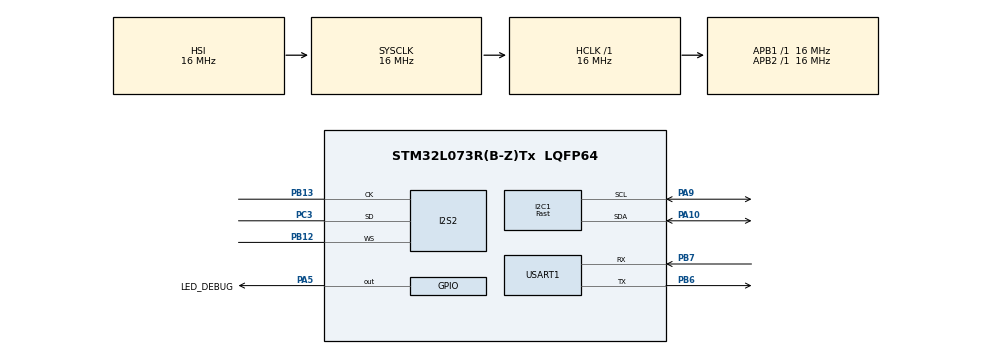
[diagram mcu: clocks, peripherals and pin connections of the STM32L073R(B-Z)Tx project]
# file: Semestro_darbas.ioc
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Dma.Request0=SPI2_RX
Dma.SPI2_RX.0.Direction=DMA_PERIPH_TO_MEMORY
Dma.SPI2_RX.0.Instance=DMA1_Channel4
Dma.SPI2_RX.0.MemDataAlignment=DMA_MDATAALIGN_HALFWORD
Dma.SPI2_RX.0.MemInc=DMA_MINC_ENABLE
Dma.SPI2_RX.0.Mode=DMA_NORMAL
Dma.SPI2_RX.0.PeriphDataAlignment=DMA_PDATAALIGN_HALFWORD
Dma.SPI2_RX.0.PeriphInc=DMA_PINC_DISABLE
Dma.SPI2_RX.0.Priority=DMA_PRIORITY_HIGH
I2C1.I2C_Speed_Mode=I2C_Fast
I2C1.Timing=0x00300617
I2S2.AudioFreq=I2S_AUDIOFREQ_8K
I2S2.DataFormat=I2S_DATAFORMAT_16B
I2S2.ErrorAudioFreq=-0.8 %
I2S2.Instance=SPI$Index
I2S2.Mode=I2S_MODE_MASTER_RX
I2S2.RealAudioFreq=7.936 KHz
I2S2.VirtualMode=I2S_MODE_MASTER
Mcu.Family=STM32L0
Mcu.Name=STM32L073R(B-Z)Tx
Mcu.Package=LQFP64
NVIC.DMA1_Channel4_5_6_7_IRQn=true\:0\:0\:false\:false\:true\:false\:true\:true
NVIC.TIM6_DAC_IRQn=true\:0\:0\:false\:false\:true\:true\:true\:true
PA10.GPIO_Pu=GPIO_PULLUP
PA10.Mode=I2C
PA10.Signal=I2C1_SDA
PA13.Mode=Serial_Wire
PA13.Signal=SYS_SWDIO
PA14.Mode=Serial_Wire
PA14.Signal=SYS_SWCLK
PA5.GPIO_Label=LED_DEBUG
PA5.GPIO_PuPd=GPIO_NOPULL
PA5.Signal=GPIO_Output
PA9.GPIO_Pu=GPIO_PULLUP
PA9.Mode=I2C
PA9.Signal=I2C1_SCL
PB12.GPIO_PuPd=GPIO_NOPULL
PB12.GPIO_Speed=GPIO_SPEED_FREQ_HIGH
PB12.Mode=Half_Duplex_Master
PB12.Signal=I2S2_WS
PB13.GPIO_Speed=GPIO_SPEED_FREQ_HIGH
PB13.Mode=Half_Duplex_Master
PB13.Signal=I2S2_CK
PB6.Mode=Asynchronous
PB6.Signal=USART1_TX
PB7.Mode=Asynchronous
PB7.Signal=USART1_RX
PC3.GPIO_Speed=GPIO_SPEED_FREQ_HIGH
PC3.Mode=Half_Duplex_Master
PC3.Signal=I2S2_SD
PH0-OSC_IN.Mode=HSE-External-Oscillator
PH0-OSC_IN.Signal=RCC_OSC_IN
PH1-OSC_OUT.Mode=HSE-External-Oscillator
PH1-OSC_OUT.Signal=RCC_OSC_OUT
ProjectManager.HeapSize=0x200
ProjectManager.StackSize=0x400
ProjectManager.TargetToolchain=MDK-ARM V5.32
RCC.ADCFreq_Value=16000000
RCC.AHBFreq_Value=16000000
RCC.APB1Freq_Value=16000000
RCC.APB1TimFreq_Value=16000000
RCC.APB2Freq_Value=16000000
RCC.APB2TimFreq_Value=16000000
RCC.HCLKFreq_Value=16000000
RCC.HSE_VALUE=8000000
RCC.HSI16_VALUE=16000000
RCC.HSI48_VALUE=48000000
RCC.HSI_VALUE=16000000
RCC.LSE_VALUE=32768
RCC.MSI_VALUE=2097000
RCC.PLLMUL=RCC_PLLMUL_8
RCC.PLLSourceVirtual=RCC_PLLSOURCE_HSE
RCC.SYSCLKFreq_VALUE=16000000
RCC.SYSCLKSource=RCC_SYSCLKSOURCE_HSI
RCC.VCOOutputFreq_Value=64000000
TIM6.AutoReloadPreload=TIM_AUTORELOAD_PRELOAD_ENABLE
TIM6.Period=100
TIM6.Prescaler=40000
USART1.VirtualMode-Asynchronous=VM_ASYNC
VP_TIM6_VS_ClockSourceINT.Mode=Enable_Timer
board=custom

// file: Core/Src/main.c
/* USER CODE BEGIN Header */
/**
  ******************************************************************************
  * @file           : main.c
  * @brief          : Main program body
  ******************************************************************************
  * @attention
  *
  * Copyright (c) 2025 STMicroelectronics.
  * All rights reserved.
  *
  * This software is licensed under terms that can be found in the LICENSE file
  * in the root directory of this software component.
  * If no LICENSE file comes with this software, it is provided AS-IS.
  *
  ******************************************************************************
  */
/* USER CODE END Header */
#include "main.h"

/* USER CODE BEGIN Includes */

#include "ssd1306.h"
#include "fonts.h"
#include "bitmap.h"
#include "string.h"
#include "stdio.h"
#include "math.h"

//#include "usart.h"

#include "Statechart.h"
#include "Statechart_required.h"

/* USER CODE END Includes */

/* USER CODE BEGIN PD */

#define BUFFER_SIZE 256

/* USER CODE END PD */

I2C_HandleTypeDef hi2c1;

I2S_HandleTypeDef hi2s2;
DMA_HandleTypeDef hdma_spi2_rx;

TIM_HandleTypeDef htim6;

UART_HandleTypeDef huart1;

/* USER CODE BEGIN PV */

volatile uint16_t i2s_rx_buffer[BUFFER_SIZE];
volatile uint8_t   buffer_ready = 0;

float              rms_value   = 0.0f;

Statechart         sc_handle;

extern UART_HandleTypeDef huart1;
char dbg_msg[64];

volatile uint8_t sample_flag = 0;
volatile uint8_t dma_done = 0;

volatile uint16_t latest_sample = 0;

volatile uint16_t s;

float sum = 0;
volatile uint16_t  rms_count      = 0;

/* USER CODE END PV */

void SystemClock_Config(void);
static void MX_GPIO_Init(void);
static void MX_DMA_Init(void);
static void MX_I2C1_Init(void);
static void MX_I2S2_Init(void);
static void MX_USART1_UART_Init(void);
static void MX_TIM6_Init(void);

/* USER CODE BEGIN 0 */

void statechart_readI2SSensor( Statechart* handle){

	HAL_I2S_Receive_DMA(&hi2s2, (uint16_t*)&latest_sample, 1);
	rms_count++;

}

sc_integer statechart_saveI2SSample(Statechart *h, const sc_integer idx)
{
	int16_t s = (int16_t)latest_sample;

	sum += s * s;

	 if (rms_count >= 25.0f) {
        rms_value = sqrtf(sum / 25.0f);

        sum = 0;
        rms_count      = 0;
    }

    return 1;
}

void statechart_uartData(Statechart *h)
{
	HAL_GPIO_TogglePin(LED_DEBUG_GPIO_Port, LED_DEBUG_Pin);

	char msg[32];
snprintf(msg, sizeof(msg), "RMS: %.3f\r\n", rms_value);
HAL_UART_Transmit(&huart1, (uint8_t*)msg, strlen(msg), HAL_MAX_DELAY);

}

void statechart_displayInfo( Statechart* handle){
	char buf[32];
	 snprintf(buf, sizeof(buf), "RMS: %.2f", rms_value);

    SSD1306_Fill(SSD1306_COLOR_BLACK);
    SSD1306_GotoXY(0, 0);
    SSD1306_Puts("SOUND LEVEL", &Font_7x10, 1);
    SSD1306_GotoXY(0, 20);
    SSD1306_Puts(buf, &Font_11x18, 1);
    SSD1306_UpdateScreen();

}

void HAL_TIM_PeriodElapsedCallback(TIM_HandleTypeDef *htim)
{
  if (htim == &htim6) {
		 statechart_raise_ev_GetSample(&sc_handle);

  }
}

/* USER CODE END 0 */

int main(void)
{

  /* MCU Configuration--------------------------------------------------------*/

  /* Reset of all peripherals, Initializes the Flash interface and the Systick. */
  HAL_Init();

  /* Configure the system clock */
  SystemClock_Config();

  /* Initialize all configured peripherals */
  MX_GPIO_Init();
  MX_DMA_Init();
  MX_I2C1_Init();
  MX_I2S2_Init();
  MX_USART1_UART_Init();
  MX_TIM6_Init();
  /* USER CODE BEGIN 2 */

  SSD1306_Init (); // initialise the display

    SSD1306_Fill(SSD1306_COLOR_BLACK);
    SSD1306_GotoXY(0, 0);
    SSD1306_Puts("Starting ...", &Font_7x10, 1);
    SSD1306_UpdateScreen();

	__HAL_LINKDMA(&hi2s2, hdmarx, hdma_spi2_rx);

//if (HAL_I2S_Receive_DMA(&hi2s2, (uint16_t*)&latest_sample, 1) != HAL_OK) {
 // Error_Handler();
//}

		statechart_init(&sc_handle);
		statechart_enter(&sc_handle);
	  HAL_TIM_Base_Start_IT(&htim6);

		if(HAL_TIM_Base_Start_IT(&htim6) != HAL_OK) //run TIM6 timer
   {
   }

  /* USER CODE END 2 */

  /* Infinite loop */
  while (1)
  {

}
}

void SystemClock_Config(void)
{
  RCC_OscInitTypeDef RCC_OscInitStruct = {0};
  RCC_ClkInitTypeDef RCC_ClkInitStruct = {0};
  RCC_PeriphCLKInitTypeDef PeriphClkInit = {0};

  /** Configure the main internal regulator output voltage
  */
  __HAL_PWR_VOLTAGESCALING_CONFIG(PWR_REGULATOR_VOLTAGE_SCALE1);

  /** Initializes the RCC Oscillators according to the specified parameters
  * in the RCC_OscInitTypeDef structure.
  */
  RCC_OscInitStruct.OscillatorType = RCC_OSCILLATORTYPE_HSI;
  RCC_OscInitStruct.HSIState = RCC_HSI_ON;
  RCC_OscInitStruct.HSICalibrationValue = RCC_HSICALIBRATION_DEFAULT;
  RCC_OscInitStruct.PLL.PLLState = RCC_PLL_NONE;
  if (HAL_RCC_OscConfig(&RCC_OscInitStruct) != HAL_OK)
  {
    Error_Handler();
  }

  /** Initializes the CPU, AHB and APB buses clocks
  */
  RCC_ClkInitStruct.ClockType = RCC_CLOCKTYPE_HCLK|RCC_CLOCKTYPE_SYSCLK
                              |RCC_CLOCKTYPE_PCLK1|RCC_CLOCKTYPE_PCLK2;
  RCC_ClkInitStruct.SYSCLKSource = RCC_SYSCLKSOURCE_HSI;
  RCC_ClkInitStruct.AHBCLKDivider = RCC_SYSCLK_DIV1;
  RCC_ClkInitStruct.APB1CLKDivider = RCC_HCLK_DIV1;
  RCC_ClkInitStruct.APB2CLKDivider = RCC_HCLK_DIV1;

  if (HAL_RCC_ClockConfig(&RCC_ClkInitStruct, FLASH_LATENCY_0) != HAL_OK)
  {
    Error_Handler();
  }
  PeriphClkInit.PeriphClockSelection = RCC_PERIPHCLK_USART1|RCC_PERIPHCLK_I2C1;
  PeriphClkInit.Usart1ClockSelection = RCC_USART1CLKSOURCE_PCLK2;
  PeriphClkInit.I2c1ClockSelection = RCC_I2C1CLKSOURCE_PCLK1;
  if (HAL_RCCEx_PeriphCLKConfig(&PeriphClkInit) != HAL_OK)
  {
    Error_Handler();
  }
}

static void MX_I2C1_Init(void)
{

  hi2c1.Instance = I2C1;
  hi2c1.Init.Timing = 0x00300617;
  hi2c1.Init.OwnAddress1 = 0;
  hi2c1.Init.AddressingMode = I2C_ADDRESSINGMODE_7BIT;
  hi2c1.Init.DualAddressMode = I2C_DUALADDRESS_DISABLE;
  hi2c1.Init.OwnAddress2 = 0;
  hi2c1.Init.OwnAddress2Masks = I2C_OA2_NOMASK;
  hi2c1.Init.GeneralCallMode = I2C_GENERALCALL_DISABLE;
  hi2c1.Init.NoStretchMode = I2C_NOSTRETCH_DISABLE;
  if (HAL_I2C_Init(&hi2c1) != HAL_OK)
  {
    Error_Handler();
  }

  /** Configure Analogue filter
  */
  if (HAL_I2CEx_ConfigAnalogFilter(&hi2c1, I2C_ANALOGFILTER_ENABLE) != HAL_OK)
  {
    Error_Handler();
  }

  /** Configure Digital filter
  */
  if (HAL_I2CEx_ConfigDigitalFilter(&hi2c1, 0) != HAL_OK)
  {
    Error_Handler();
  }

}

static void MX_I2S2_Init(void)
{

  hi2s2.Instance = SPI2;
  hi2s2.Init.Mode = I2S_MODE_MASTER_RX;
  hi2s2.Init.Standard = I2S_STANDARD_PHILIPS;
  hi2s2.Init.DataFormat = I2S_DATAFORMAT_16B;
  hi2s2.Init.MCLKOutput = I2S_MCLKOUTPUT_DISABLE;
  hi2s2.Init.AudioFreq = I2S_AUDIOFREQ_8K;
  hi2s2.Init.CPOL = I2S_CPOL_LOW;
  if (HAL_I2S_Init(&hi2s2) != HAL_OK)
  {
    Error_Handler();
  }

}

static void MX_TIM6_Init(void)
{

  TIM_MasterConfigTypeDef sMasterConfig = {0};

  htim6.Instance = TIM6;
  htim6.Init.Prescaler = 40000;
  htim6.Init.CounterMode = TIM_COUNTERMODE_UP;
  htim6.Init.Period = 8;
  htim6.Init.AutoReloadPreload = TIM_AUTORELOAD_PRELOAD_ENABLE;
  if (HAL_TIM_Base_Init(&htim6) != HAL_OK)
  {
    Error_Handler();
  }
  sMasterConfig.MasterOutputTrigger = TIM_TRGO_RESET;
  sMasterConfig.MasterSlaveMode = TIM_MASTERSLAVEMODE_DISABLE;
  if (HAL_TIMEx_MasterConfigSynchronization(&htim6, &sMasterConfig) != HAL_OK)
  {
    Error_Handler();
  }

}

static void MX_USART1_UART_Init(void)
{

  huart1.Instance = USART1;
  huart1.Init.BaudRate = 115200;
  huart1.Init.WordLength = UART_WORDLENGTH_8B;
  huart1.Init.StopBits = UART_STOPBITS_1;
  huart1.Init.Parity = UART_PARITY_NONE;
  huart1.Init.Mode = UART_MODE_TX_RX;
  huart1.Init.HwFlowCtl = UART_HWCONTROL_NONE;
  huart1.Init.OverSampling = UART_OVERSAMPLING_16;
  huart1.Init.OneBitSampling = UART_ONE_BIT_SAMPLE_DISABLE;
  huart1.AdvancedInit.AdvFeatureInit = UART_ADVFEATURE_NO_INIT;
  if (HAL_UART_Init(&huart1) != HAL_OK)
  {
    Error_Handler();
  }

}

static void MX_DMA_Init(void)
{

  /* DMA controller clock enable */
  __HAL_RCC_DMA1_CLK_ENABLE();

  /* DMA interrupt init */
  /* DMA1_Channel4_5_6_7_IRQn interrupt configuration */
  HAL_NVIC_SetPriority(DMA1_Channel4_5_6_7_IRQn, 0, 0);
  HAL_NVIC_EnableIRQ(DMA1_Channel4_5_6_7_IRQn);

}

static void MX_GPIO_Init(void)
{
  GPIO_InitTypeDef GPIO_InitStruct = {0};

  /* GPIO Ports Clock Enable */
  __HAL_RCC_GPIOH_CLK_ENABLE();
  __HAL_RCC_GPIOC_CLK_ENABLE();
  __HAL_RCC_GPIOA_CLK_ENABLE();
  __HAL_RCC_GPIOB_CLK_ENABLE();

  /*Configure GPIO pin Output Level */
  HAL_GPIO_WritePin(LED_DEBUG_GPIO_Port, LED_DEBUG_Pin, GPIO_PIN_RESET);

  /*Configure GPIO pin : LED_DEBUG_Pin */
  GPIO_InitStruct.Pin = LED_DEBUG_Pin;
  GPIO_InitStruct.Mode = GPIO_MODE_OUTPUT_PP;
  GPIO_InitStruct.Pull = GPIO_NOPULL;
  GPIO_InitStruct.Speed = GPIO_SPEED_FREQ_LOW;
  HAL_GPIO_Init(LED_DEBUG_GPIO_Port, &GPIO_InitStruct);

}

void Error_Handler(void)
{
  __disable_irq();
  while (1)
  {
  }
}
